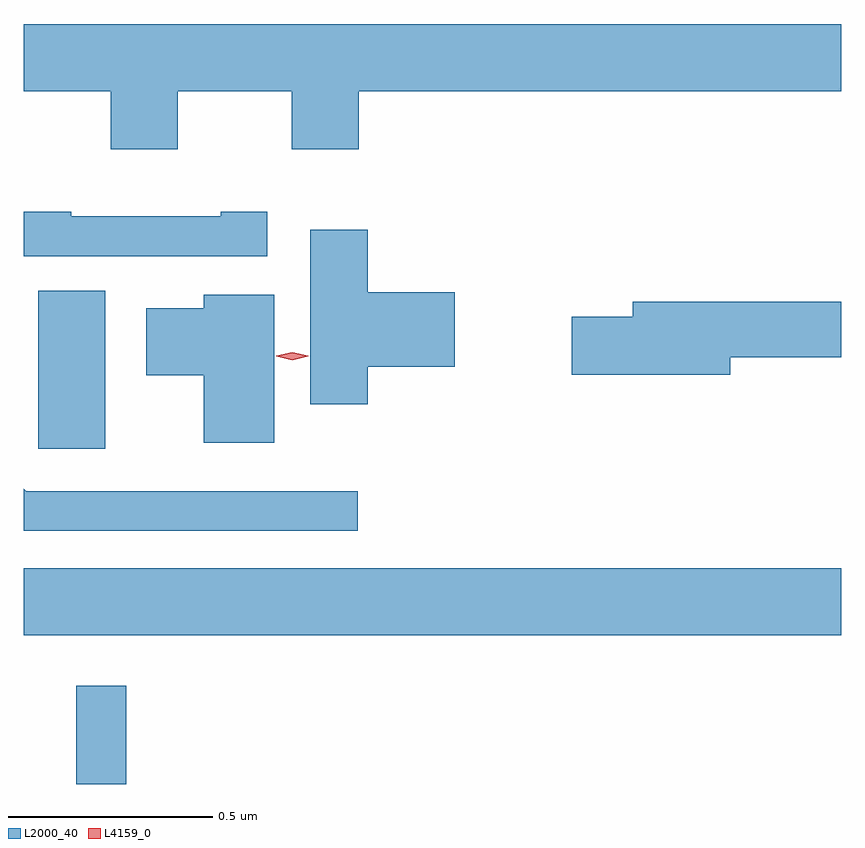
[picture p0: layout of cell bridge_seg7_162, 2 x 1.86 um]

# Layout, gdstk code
import gdstk
lib = gdstk.Library(unit=1e-6, precision=1e-09)
def R(c, l, rs):  # rectangles x0, y0, x1, y1
    for r in rs: c.add(gdstk.rectangle(r[:2], r[2:], *l))
def P(c, l, *ps):  # polygons
    for p in ps: c.add(gdstk.Polygon(p, *l))
L2000_40 = (2000, 40)
L4159_0 = (4159, 0)

bridge_seg7_162 = lib.new_cell('bridge_seg7_162')
R(bridge_seg7_162, L2000_40, [(402.773,1045.54,402.895,1045.78), (402.645,1045.904,404.645,1046.068), (402.68,1046.361,402.844,1046.747)])
P(bridge_seg7_162, L2000_40, [(403.021,1047.236),(403.301,1047.236),(403.301,1047.093),(403.465,1047.093),(403.465,1047.236),(404.645,1047.236),(404.645,1047.4),(402.645,1047.4),(402.645,1047.236),(402.857,1047.236),(402.857,1047.093),(403.021,1047.093)],
  [(403.24,1046.941),(403.127,1046.941),(403.127,1046.929),(402.761,1046.929),(402.761,1046.941),(402.645,1046.941),(402.645,1046.832),(403.24,1046.832)],
  [(403.487,1046.561),(403.699,1046.561),(403.699,1046.744),(403.487,1046.744),(403.487,1046.896),(403.346,1046.896),(403.346,1046.469),(403.487,1046.469)],
  [(403.258,1046.737),(403.085,1046.737),(403.085,1046.704),(402.945,1046.704),(402.945,1046.54),(403.085,1046.54),(403.085,1046.375),(403.258,1046.375)],
  [(404.374,1046.584),(404.645,1046.584),(404.645,1046.72),(404.135,1046.72),(404.135,1046.684),(403.986,1046.684),(403.986,1046.542),(404.374,1046.542)],
  [(403.462,1046.256),(402.651,1046.256),(402.645,1046.262),(402.645,1046.16),(403.462,1046.16)])
P(bridge_seg7_162, L4159_0, [(403.302,1046.577),(403.263,1046.587),(403.263,1046.587),(403.263,1046.588),(403.302,1046.597),(403.341,1046.588),(403.341,1046.587),(403.341,1046.587)])

lib.write_gds('bridge_seg7_162.gds')
